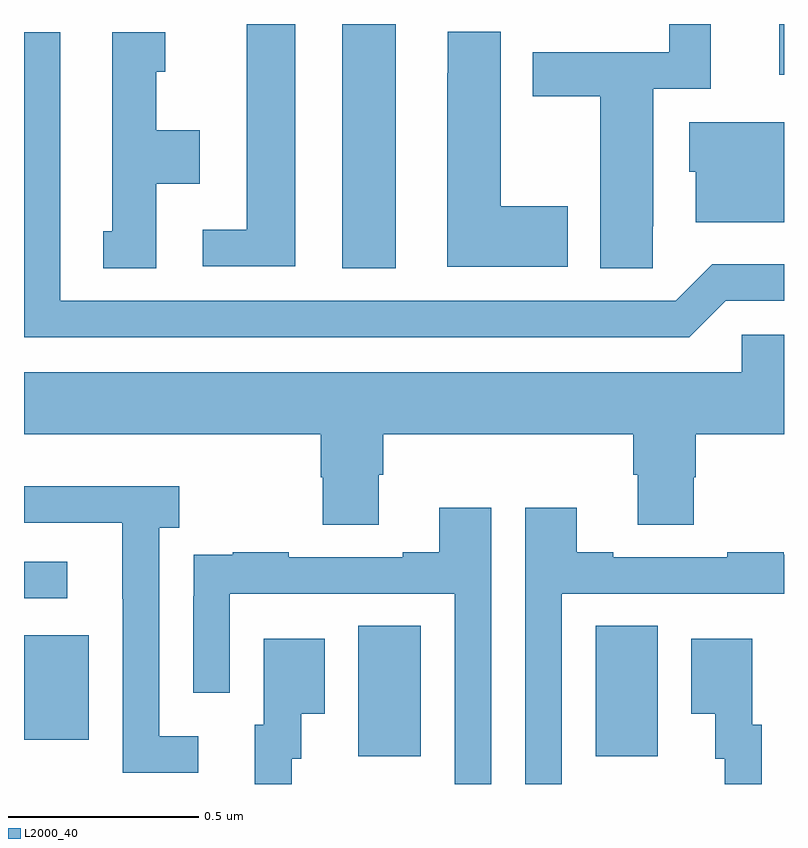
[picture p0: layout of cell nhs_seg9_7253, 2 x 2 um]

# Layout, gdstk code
import gdstk
lib = gdstk.Library(unit=1e-6, precision=1e-09)
def R(c, l, rs):  # rectangles x0, y0, x1, y1
    for r in rs: c.add(gdstk.rectangle(r[:2], r[2:], *l))
def P(c, l, *ps):  # polygons
    for p in ps: c.add(gdstk.Polygon(p, *l))
L2000_40 = (2000, 40)

nhs_seg9_7253 = lib.new_cell('nhs_seg9_7253')
R(nhs_seg9_7253, L2000_40, [(202.88,1195.573,203.044,1195.916), (203.504,1195.573,203.668,1195.916), (202,1195.617,202.171,1195.891), (202,1195.989,202.114,1196.085), (202.838,1196.857,202.978,1197.5), (203.987,1197.366,204,1197.5)])
P(nhs_seg9_7253, L2000_40, [(202.714,1197.5),(202.586,1197.5),(202.586,1196.958),(202.47,1196.958),(202.47,1196.862),(202.714,1196.862)],
  [(203.655,1196.968),(203.656,1196.968),(203.656,1197.33),(203.807,1197.33),(203.807,1197.5),(203.698,1197.5),(203.698,1197.426),(203.339,1197.426),(203.339,1197.31),(203.516,1197.31),(203.516,1196.857),(203.655,1196.857)],
  [(203.431,1197.021),(203.254,1197.021),(203.254,1197.479),(203.115,1197.479),(203.115,1197.371),(203.114,1197.371),(203.114,1196.861),(203.431,1196.861)],
  [(202.348,1197.08),(202.462,1197.08),(202.462,1197.22),(202.348,1197.22),(202.348,1197.375),(202.372,1197.375),(202.372,1197.478),(202.232,1197.478),(202.232,1196.955),(202.208,1196.955),(202.208,1196.857),(202.348,1196.857)],
  [(203.847,1196.772),(204,1196.772),(204,1196.868),(203.811,1196.868),(203.715,1196.772),(202.096,1196.772),(202.096,1197.478),(202,1197.478),(202,1196.676),(203.751,1196.676)],
  [(204,1197.241),(203.75,1197.241),(203.75,1197.111),(203.768,1197.111),(203.768,1196.978),(204,1196.978)],
  [(202.933,1196.314),(202.946,1196.314),(202.946,1196.42),(203.603,1196.42),(203.603,1196.314),(203.615,1196.314),(203.615,1196.182),(203.763,1196.182),(203.763,1196.307),(203.768,1196.307),(203.768,1196.42),(204,1196.42),(204,1196.682),(203.889,1196.682),(203.889,1196.584),(202,1196.584),(202,1196.42),(202.781,1196.42),(202.781,1196.307),(202.786,1196.307),(202.786,1196.182),(202.933,1196.182)],
  [(202.459,1195.626),(202.356,1195.626),(202.356,1196.174),(202.408,1196.174),(202.408,1196.284),(202,1196.284),(202,1196.187),(202.259,1196.187),(202.259,1195.987),(202.26,1195.987),(202.26,1195.53),(202.459,1195.53)],
  [(203.229,1196.227),(203.093,1196.227),(203.093,1196.11),(202.997,1196.11),(202.997,1196.097),(202.697,1196.097),(202.697,1196.11),(202.549,1196.11),(202.549,1196.103),(202.447,1196.103),(202.447,1195.994),(202.446,1195.994),(202.446,1195.74),(202.542,1195.74),(202.542,1196.001),(203.133,1196.001),(203.133,1195.5),(203.229,1195.5)],
  [(203.415,1196.001),(204,1196.001),(204,1196.103),(203.999,1196.103),(203.999,1196.11),(203.851,1196.11),(203.851,1196.097),(203.551,1196.097),(203.551,1196.11),(203.455,1196.11),(203.455,1196.227),(203.319,1196.227),(203.319,1195.5),(203.415,1195.5)],
  [(203.941,1195.656),(203.917,1195.656),(203.917,1195.882),(203.756,1195.882),(203.756,1195.685),(203.819,1195.685),(203.819,1195.566),(203.844,1195.566),(203.844,1195.5),(203.941,1195.5)],
  [(202.704,1195.566),(202.729,1195.566),(202.729,1195.685),(202.792,1195.685),(202.792,1195.882),(202.631,1195.882),(202.631,1195.656),(202.607,1195.656),(202.607,1195.5),(202.704,1195.5)])

lib.write_gds('nhs_seg9_7253.gds')
